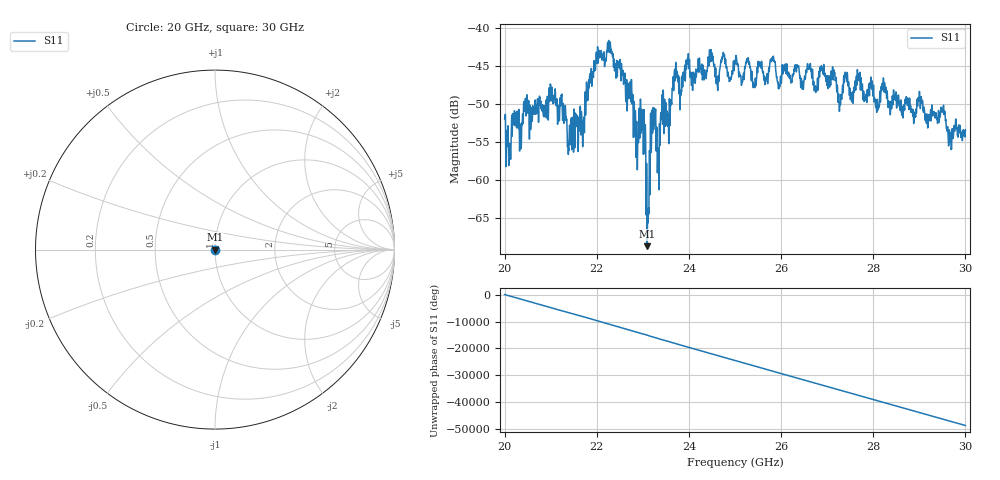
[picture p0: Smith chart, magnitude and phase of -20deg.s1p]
#  HZ  S  RI  R  50.00
! Rohde & Schwarz ZVA40 4Ports - Version 3.90 - 1145.1110k42 SN: 100403
! Date: 2023-10-03 12:31:03
! Measurement: S12
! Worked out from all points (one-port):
!   5001 points, 20 GHz to 30 GHz, reference 50 ohm
!   lowest |S11| = -68.7 dB at 23.09 GHz (marker M1), VSWR 1.00, Z = 50 + j0.0263 ohm
!   |S11| at or under -10 dB: start of sweep to end of sweep
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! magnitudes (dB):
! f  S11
! 20 GHz  -51.9
! 20.09 GHz  -56.6
! 20.46 GHz  -51.3
! 21.25 GHz  -50.5
! 21.41 GHz  -52.8
! 21.69 GHz  -55.6
! 22.03 GHz  -44.4
! 22.5 GHz  -45.2
! 22.74 GHz  -49.7
! 22.86 GHz  -52.5
! 23.01 GHz  -56.6
! 23.09 GHz  -68.7
! 23.14 GHz  -58.3
! 23.21 GHz  -53.5
! 23.33 GHz  -56.1
! 23.43 GHz  -52.6
! 23.55 GHz  -51.7
! 23.75 GHz  -46.6
! 25 GHz  -44.7
! 25.42 GHz  -47.5
! 25.81 GHz  -43.8
! 25.96 GHz  -47.8
! 26.25 GHz  -46.2
! 27.5 GHz  -48.6
! 27.68 GHz  -46.1
! 28.09 GHz  -49.5
! 28.75 GHz  -49.3
! 30 GHz  -53.4
